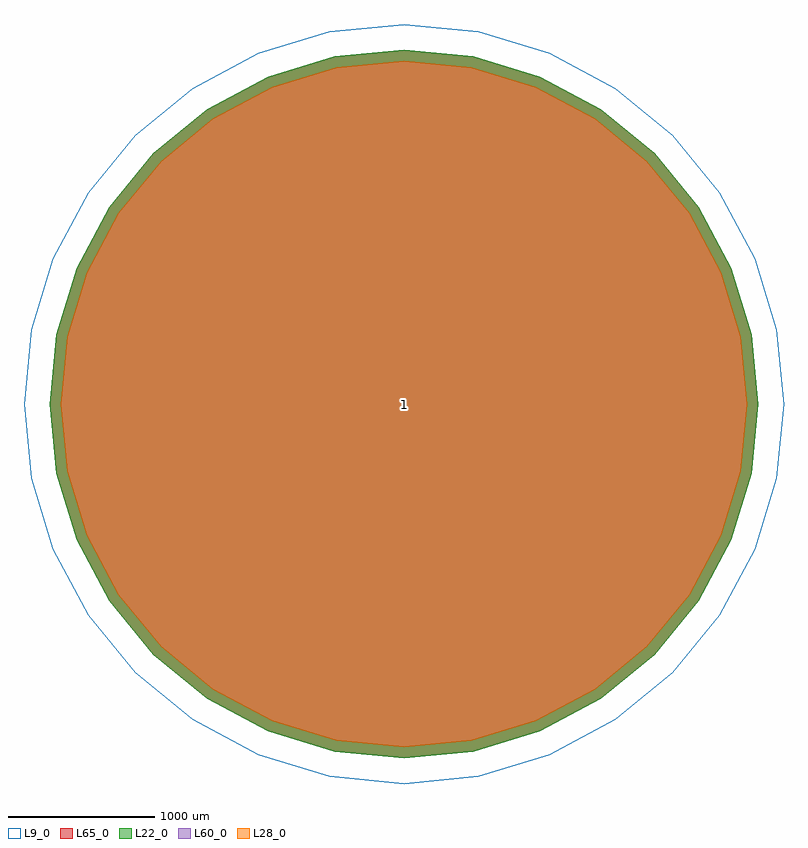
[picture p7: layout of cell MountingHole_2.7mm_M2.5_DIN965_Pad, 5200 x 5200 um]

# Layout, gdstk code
import gdstk
lib = gdstk.Library(unit=1e-6, precision=1e-09)
def P(c, l, *ps):  # polygons
    for p in ps: c.add(gdstk.Polygon(p, *l))
L9_0 = (9, 0)
L22_0 = (22, 0)
L28_0 = (28, 0)
L60_0 = (60, 0)
L65_0 = (65, 0)

mountinghole_2_7mm_m2_5_ = lib.new_cell('MountingHole_2.7mm_M2.5_DIN965_Pad')
P(mountinghole_2_7mm_m2_5_, L9_0, [(2600,0),(2550.042,507.235),(2402.087,994.977),(2161.821,1444.483),(1838.478,1838.478),(1444.483,2161.821),(994.977,2402.087),(507.235,2550.042),(0,2600),(-507.235,2550.042),(-994.977,2402.087),(-1444.483,2161.821),(-1838.478,1838.478),(-2161.821,1444.483),(-2402.087,994.977),(-2550.042,507.235),(-2600,0),(-2550.042,-507.235),(-2402.087,-994.977),(-2161.821,-1444.483),(-1838.478,-1838.478),(-1444.483,-2161.821),(-994.977,-2402.087),(-507.235,-2550.042),(0,-2600),(507.235,-2550.042),(994.977,-2402.087),(1444.483,-2161.821),(1838.478,-1838.478),(2161.821,-1444.483),(2402.087,-994.977),(2550.042,-507.235)],
  [(2350,0),(2304.845,458.462),(2171.117,899.306),(1953.954,1305.59),(1661.701,1661.701),(1305.59,1953.954),(899.306,2171.117),(458.462,2304.845),(0,2350),(-458.462,2304.845),(-899.306,2171.117),(-1305.59,1953.954),(-1661.701,1661.701),(-1953.954,1305.59),(-2171.117,899.306),(-2304.845,458.462),(-2350,0),(-2304.845,-458.462),(-2171.117,-899.306),(-1953.954,-1305.59),(-1661.701,-1661.701),(-1305.59,-1953.954),(-899.306,-2171.117),(-458.462,-2304.845),(0,-2350),(458.462,-2304.845),(899.306,-2171.117),(1305.59,-1953.954),(1661.701,-1661.701),(1953.954,-1305.59),(2171.117,-899.306),(2304.845,-458.462)])
P(mountinghole_2_7mm_m2_5_, L22_0, [(2425,0),(2378.404,473.094),(2240.408,928.007),(2016.314,1347.258),(1714.734,1714.734),(1347.258,2016.314),(928.007,2240.408),(473.094,2378.404),(0,2425),(-473.094,2378.404),(-928.007,2240.408),(-1347.258,2016.314),(-1714.734,1714.734),(-2016.314,1347.258),(-2240.408,928.007),(-2378.404,473.094),(-2425,0),(-2378.404,-473.094),(-2240.408,-928.007),(-2016.314,-1347.258),(-1714.734,-1714.734),(-1347.258,-2016.314),(-928.007,-2240.408),(-473.094,-2378.404),(0,-2425),(473.094,-2378.404),(928.007,-2240.408),(1347.258,-2016.314),(1714.734,-1714.734),(2016.314,-1347.258),(2240.408,-928.007),(2378.404,-473.094)])
P(mountinghole_2_7mm_m2_5_, L28_0, [(2350,0),(2304.845,458.462),(2171.117,899.306),(1953.954,1305.59),(1661.701,1661.701),(1305.59,1953.954),(899.306,2171.117),(458.462,2304.845),(0,2350),(-458.462,2304.845),(-899.306,2171.117),(-1305.59,1953.954),(-1661.701,1661.701),(-1953.954,1305.59),(-2171.117,899.306),(-2304.845,458.462),(-2350,0),(-2304.845,-458.462),(-2171.117,-899.306),(-1953.954,-1305.59),(-1661.701,-1661.701),(-1305.59,-1953.954),(-899.306,-2171.117),(-458.462,-2304.845),(0,-2350),(458.462,-2304.845),(899.306,-2171.117),(1305.59,-1953.954),(1661.701,-1661.701),(1953.954,-1305.59),(2171.117,-899.306),(2304.845,-458.462)])
P(mountinghole_2_7mm_m2_5_, L60_0, [(2350,0),(2304.845,458.462),(2171.117,899.306),(1953.954,1305.59),(1661.701,1661.701),(1305.59,1953.954),(899.306,2171.117),(458.462,2304.845),(0,2350),(-458.462,2304.845),(-899.306,2171.117),(-1305.59,1953.954),(-1661.701,1661.701),(-1953.954,1305.59),(-2171.117,899.306),(-2304.845,458.462),(-2350,0),(-2304.845,-458.462),(-2171.117,-899.306),(-1953.954,-1305.59),(-1661.701,-1661.701),(-1305.59,-1953.954),(-899.306,-2171.117),(-458.462,-2304.845),(0,-2350),(458.462,-2304.845),(899.306,-2171.117),(1305.59,-1953.954),(1661.701,-1661.701),(1953.954,-1305.59),(2171.117,-899.306),(2304.845,-458.462)])
P(mountinghole_2_7mm_m2_5_, L65_0, [(2425,0),(2378.404,473.094),(2240.408,928.007),(2016.314,1347.258),(1714.734,1714.734),(1347.258,2016.314),(928.007,2240.408),(473.094,2378.404),(0,2425),(-473.094,2378.404),(-928.007,2240.408),(-1347.258,2016.314),(-1714.734,1714.734),(-2016.314,1347.258),(-2240.408,928.007),(-2378.404,473.094),(-2425,0),(-2378.404,-473.094),(-2240.408,-928.007),(-2016.314,-1347.258),(-1714.734,-1714.734),(-1347.258,-2016.314),(-928.007,-2240.408),(-473.094,-2378.404),(0,-2425),(473.094,-2378.404),(928.007,-2240.408),(1347.258,-2016.314),(1714.734,-1714.734),(2016.314,-1347.258),(2240.408,-928.007),(2378.404,-473.094)])
mountinghole_2_7mm_m2_5_.add(gdstk.Label('1', (0,0), layer=28, texttype=0))
mountinghole_2_7mm_m2_5_.add(gdstk.Label('type', (0,-3350), layer=9, texttype=0))
mountinghole_2_7mm_m2_5_.add(gdstk.Label('devicename', (0,3350), layer=9, texttype=0))

lib.write_gds('MountingHole_2.7mm_M2.5_DIN965_Pad.gds')
